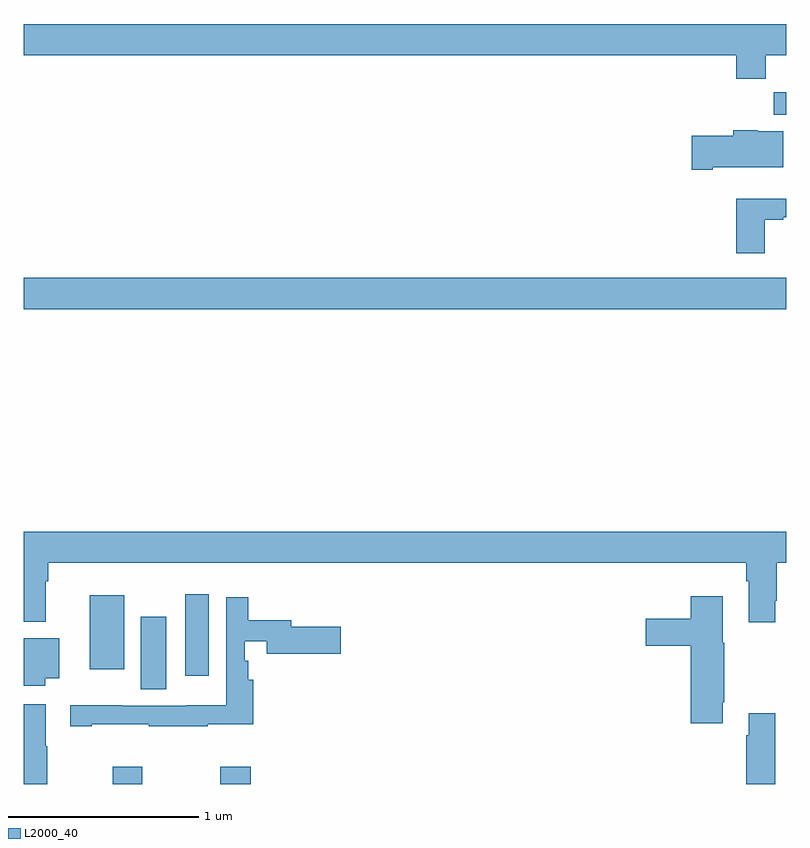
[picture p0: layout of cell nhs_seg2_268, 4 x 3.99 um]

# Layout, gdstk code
import gdstk
lib = gdstk.Library(unit=1e-6, precision=1e-09)
def R(c, l, rs):  # rectangles x0, y0, x1, y1
    for r in rs: c.add(gdstk.rectangle(r[:2], r[2:], *l))
def P(c, l, *ps):  # polygons
    for p in ps: c.add(gdstk.Polygon(p, *l))
L2000_40 = (2000, 40)

nhs_seg2_268 = lib.new_cell('nhs_seg2_268')
R(nhs_seg2_268, L2000_40, [(123.466,655.8,123.621,655.891), (124.03,655.8,124.19,655.891), (123.614,656.296,123.748,656.677), (123.848,656.367,123.97,656.797), (123.347,656.402,123.526,656.791), (123,658.292,127,658.456), (126.934,659.312,127,659.431)])
P(nhs_seg2_268, L2000_40, [(126.893,659.624),(127,659.624),(127,659.788),(123,659.788),(123,659.624),(126.737,659.624),(126.737,659.5),(126.893,659.5)],
  [(126.616,659.036),(126.985,659.036),(126.985,659.224),(126.852,659.224),(126.852,659.23),(126.722,659.23),(126.722,659.202),(126.504,659.202),(126.504,659.024),(126.616,659.024)],
  [(126.889,658.761),(126.985,658.761),(126.985,658.773),(127,658.773),(127,658.87),(126.737,658.87),(126.737,658.584),(126.889,658.584)],
  [(126.943,656.761),(126.951,656.761),(126.951,656.96),(127,656.96),(127,657.124),(123,657.124),(123,656.651),(123.115,656.651),(123.115,656.864),(123.128,656.864),(123.128,656.96),(126.791,656.96),(126.791,656.864),(126.803,656.864),(126.803,656.649),(126.943,656.649)],
  [(126.667,656.23),(126.675,656.23),(126.675,656.541),(126.667,656.541),(126.667,656.785),(126.5,656.785),(126.5,656.667),(126.264,656.667),(126.264,656.525),(126.5,656.525),(126.5,656.118),(126.667,656.118)],
  [(123.355,656.113),(123.655,656.113),(123.655,656.103),(123.965,656.103),(123.965,656.113),(124.205,656.113),(124.205,656.347),(124.178,656.347),(124.178,656.448),(124.158,656.448),(124.158,656.549),(124.274,656.549),(124.274,656.483),(124.663,656.483),(124.663,656.625),(124.402,656.625),(124.402,656.659),(124.178,656.659),(124.178,656.779),(124.062,656.779),(124.062,656.212),(123.852,656.212),(123.852,656.211),(123.518,656.211),(123.518,656.213),(123.243,656.213),(123.243,656.103),(123.355,656.103)],
  [(123.113,656.354),(123.187,656.354),(123.187,656.566),(123,656.566),(123,656.315),(123.113,656.315)],
  [(123.123,655.997),(123.115,655.997),(123.115,656.218),(123,656.218),(123,655.8),(123.123,655.8)],
  [(126.943,656.17),(126.803,656.17),(126.803,656.057),(126.791,656.057),(126.791,655.8),(126.943,655.8)])

lib.write_gds('nhs_seg2_268.gds')
